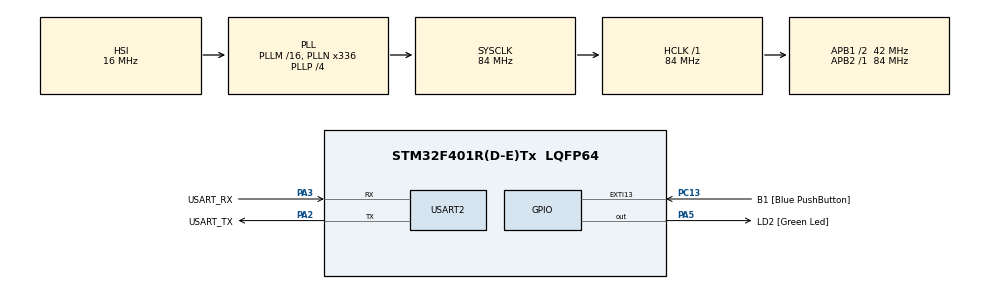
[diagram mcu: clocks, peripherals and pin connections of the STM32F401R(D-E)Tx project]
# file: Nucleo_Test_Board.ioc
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FREERTOS.Tasks01=SerialServer,0,128,StartSerialServer,Default,NULL,Dynamic,NULL,NULL
Mcu.Family=STM32F4
Mcu.Name=STM32F401R(D-E)Tx
Mcu.Package=LQFP64
NVIC.PriorityGroup=NVIC_PRIORITYGROUP_4
NVIC.TIM1_UP_TIM10_IRQn=true\:15\:0\:false\:false\:true\:false\:false\:true\:true
NVIC.TimeBase=TIM1_UP_TIM10_IRQn
NVIC.TimeBaseIP=TIM1
PA13.GPIO_Label=TMS
PA13.Mode=Trace_Asynchronous_SW
PA13.Signal=SYS_JTMS-SWDIO
PA14.GPIO_Label=TCK
PA14.Mode=Trace_Asynchronous_SW
PA14.Signal=SYS_JTCK-SWCLK
PA2.GPIO_Label=USART_TX
PA2.GPIO_Mode=GPIO_MODE_AF_PP
PA2.GPIO_PuPd=GPIO_NOPULL
PA2.GPIO_Speed=GPIO_SPEED_FREQ_LOW
PA2.Mode=Asynchronous
PA2.Signal=USART2_TX
PA3.GPIO_Label=USART_RX
PA3.GPIO_Mode=GPIO_MODE_AF_PP
PA3.GPIO_PuPd=GPIO_NOPULL
PA3.GPIO_Speed=GPIO_SPEED_FREQ_LOW
PA3.Mode=Asynchronous
PA3.Signal=USART2_RX
PA5.GPIO_Label=LD2 [Green Led]
PA5.GPIO_Mode=GPIO_MODE_OUTPUT_PP
PA5.GPIO_PuPd=GPIO_NOPULL
PA5.GPIO_Speed=GPIO_SPEED_FREQ_LOW
PA5.Signal=GPIO_Output
PB3.GPIO_Label=SWO
PB3.Mode=Trace_Asynchronous_SW
PB3.Signal=SYS_JTDO-SWO
PC13-ANTI_TAMP.GPIO_Label=B1 [Blue PushButton]
PC13-ANTI_TAMP.GPIO_ModeDefaultEXTI=GPIO_MODE_IT_FALLING
PC13-ANTI_TAMP.GPIO_PuPd=GPIO_NOPULL
PC13-ANTI_TAMP.Signal=GPXTI13
PC14-OSC32_IN.Mode=LSE-External-Oscillator
PC14-OSC32_IN.Signal=RCC_OSC32_IN
PC15-OSC32_OUT.Mode=LSE-External-Oscillator
PC15-OSC32_OUT.Signal=RCC_OSC32_OUT
PH0\ -\ OSC_IN.Mode=HSE-External-Clock-Source
PH0\ -\ OSC_IN.Signal=RCC_OSC_IN
PH1\ -\ OSC_OUT.Mode=HSE-External-Clock-Source
PH1\ -\ OSC_OUT.Signal=RCC_OSC_OUT
ProjectManager.HeapSize=0x200
ProjectManager.StackSize=0x400
ProjectManager.TargetToolchain=STM32CubeIDE
RCC.48MHZClocksFreq_Value=48000000
RCC.AHBFreq_Value=84000000
RCC.APB1CLKDivider=RCC_HCLK_DIV2
RCC.APB1Freq_Value=42000000
RCC.APB1TimFreq_Value=84000000
RCC.APB2Freq_Value=84000000
RCC.APB2TimFreq_Value=84000000
RCC.CortexFreq_Value=84000000
RCC.HCLKFreq_Value=84000000
RCC.HSE_VALUE=8000000
RCC.HSI_VALUE=16000000
RCC.PLLN=336
RCC.PLLP=RCC_PLLP_DIV4
RCC.PLLQ=7
RCC.SYSCLKFreq_VALUE=84000000
RCC.SYSCLKSource=RCC_SYSCLKSOURCE_PLLCLK
RCC.VCOOutputFreq_Value=336000000
USART2.VirtualMode=VM_ASYNC
VP_FREERTOS_VS_CMSIS_V1.Mode=CMSIS_V1
VP_SYS_VS_tim1.Mode=TIM1
board=NUCLEO-F401RE

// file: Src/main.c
/* USER CODE BEGIN Header */
/**
  ******************************************************************************
  * @file           : main.c
  * @brief          : Main program body
  ******************************************************************************
  * @attention
  *
  * Copyright (c) 2026 STMicroelectronics.
  * All rights reserved.
  *
  * This software is licensed under terms that can be found in the LICENSE file
  * in the root directory of this software component.
  * If no LICENSE file comes with this software, it is provided AS-IS.
  *
  ******************************************************************************
  */
/* USER CODE END Header */
#include "main.h"
#include "cmsis_os.h"

/* USER CODE BEGIN Includes */
#include <string.h>
/* USER CODE END Includes */

/* USER CODE BEGIN PTD */
/**
 * Data representation of the battery state for battery estimator. Just for test.
 * size: 13 byte / words
 *
 * @var status the status of the response
 * @var payloadOne arbitrary payload slot for data
 * @var payloadTwo arbitrary payload slot for data
 * @var payloadThree arbitrary payload slot for data
 *
 * ---- Payload Chart ----
 * 		- 0xFF = ERROR
 * 				- payloadOne = error code
 * 		- 0x01 = Success battery response
 *				- payloadOne = Battery Charge
 * 				- payloadTwo = Voltage
 * 				- payloadThree = total charge
 * 		- 0x02 = sucessful reset battery charge
 * 		- 0x03 = sucessful set battery charge
 **/
typedef struct __attribute__((packed)){
	uint8_t status;
	float payloadOne;
	float payloadTwo;
	float payloadThree;
} Payload;

/**
 * @brief response from microcontroller to server. Contains standard packet framing with a 16byte packet. The packet has as 13 byte payload defining the nature of the response.
 */
typedef struct __attribute__((packed)){
		uint8_t startBit;
		Payload data;
		uint8_t endBit;
		uint8_t checkSum;
} Response_Packet;

/**
 * @brief Packet sent to the microcontroller from the main rover. (Size: 8 byte / word)
 *
 * @param opCode operation code that directs instruction
 * 		- 0x01 - request battery data
 * 		- 0x02 - reset battery charge
 * 		- 0x03 - set battery charge
 * @param data float input for additional instruction details
 */
typedef struct __attribute__((packed)){
		uint8_t startBit;
		uint8_t opCode;
		float data;
		uint8_t endBit;
		uint8_t checkSum;
} Input_Packet;
/* USER CODE END PTD */

/* USER CODE BEGIN PD */
#define EMPTY_RESPONSE_PACKET(data_packet) {.startBit = 0xAA, .data = data_packet, .endBit = 0x55, .checkSum = 0};
#define EMPTY_INPUT_PACKET(opCode, data) {.startBit = 0xAA, .opCode = opCode, .data = data, .endBit = 0x55, .checkSum = 0}
#define ERROR_PAYLOAD {.status = 0xFF, .payloadOne = 0x01, .payloadTwo = 0x00, .payloadThree = 0x00}

/* USER CODE END PD */

UART_HandleTypeDef huart2;

osThreadId SerialServerHandle;

void SystemClock_Config(void);
static void MX_GPIO_Init(void);
static void MX_USART2_UART_Init(void);
void StartSerialServer(void const * argument);

/* USER CODE BEGIN PFP */
/**
 * @note function that takes a packet and calculates check sum
 * @warning the packet must have the check sum as its last element.
 * You must omit the checkSum element from the sum. So the actual size should
 * be sizeOf(Packet) - 1, since adding the checksum to the calculations will mess things up
 *
 * @param packet pointer to location of packet
 * @param size size of packet
 * @return checksum of all bytes
 */
uint8_t calcCheckSum(uint8_t* packet, uint8_t size){
	uint8_t sum = 0;
	for(uint8_t i = 0; i < size; i++)sum += packet[i];
	return sum;
}
/* USER CODE END PFP */

int main(void)
{

  /* MCU Configuration--------------------------------------------------------*/

  /* Reset of all peripherals, Initializes the Flash interface and the Systick. */
  HAL_Init();

  /* Configure the system clock */
  SystemClock_Config();

  /* Initialize all configured peripherals */
  MX_GPIO_Init();
  MX_USART2_UART_Init();

  /* Create the thread(s) */
  /* definition and creation of SerialServer */
  osThreadDef(SerialServer, StartSerialServer, osPriorityNormal, 0, 128);
  SerialServerHandle = osThreadCreate(osThread(SerialServer), NULL);

  /* Start scheduler */
  osKernelStart();

  /* We should never get here as control is now taken by the scheduler */

  /* Infinite loop */
  while (1)
  {

  }
}

void SystemClock_Config(void)
{
  RCC_OscInitTypeDef RCC_OscInitStruct = {0};
  RCC_ClkInitTypeDef RCC_ClkInitStruct = {0};

  /** Configure the main internal regulator output voltage
  */
  __HAL_RCC_PWR_CLK_ENABLE();
  __HAL_PWR_VOLTAGESCALING_CONFIG(PWR_REGULATOR_VOLTAGE_SCALE2);

  /** Initializes the RCC Oscillators according to the specified parameters
  * in the RCC_OscInitTypeDef structure.
  */
  RCC_OscInitStruct.OscillatorType = RCC_OSCILLATORTYPE_HSI;
  RCC_OscInitStruct.HSIState = RCC_HSI_ON;
  RCC_OscInitStruct.HSICalibrationValue = RCC_HSICALIBRATION_DEFAULT;
  RCC_OscInitStruct.PLL.PLLState = RCC_PLL_ON;
  RCC_OscInitStruct.PLL.PLLSource = RCC_PLLSOURCE_HSI;
  RCC_OscInitStruct.PLL.PLLM = 16;
  RCC_OscInitStruct.PLL.PLLN = 336;
  RCC_OscInitStruct.PLL.PLLP = RCC_PLLP_DIV4;
  RCC_OscInitStruct.PLL.PLLQ = 7;
  if (HAL_RCC_OscConfig(&RCC_OscInitStruct) != HAL_OK)
  {
    Error_Handler();
  }

  /** Initializes the CPU, AHB and APB buses clocks
  */
  RCC_ClkInitStruct.ClockType = RCC_CLOCKTYPE_HCLK|RCC_CLOCKTYPE_SYSCLK
                              |RCC_CLOCKTYPE_PCLK1|RCC_CLOCKTYPE_PCLK2;
  RCC_ClkInitStruct.SYSCLKSource = RCC_SYSCLKSOURCE_PLLCLK;
  RCC_ClkInitStruct.AHBCLKDivider = RCC_SYSCLK_DIV1;
  RCC_ClkInitStruct.APB1CLKDivider = RCC_HCLK_DIV2;
  RCC_ClkInitStruct.APB2CLKDivider = RCC_HCLK_DIV1;

  if (HAL_RCC_ClockConfig(&RCC_ClkInitStruct, FLASH_LATENCY_2) != HAL_OK)
  {
    Error_Handler();
  }
}

static void MX_USART2_UART_Init(void)
{

  huart2.Instance = USART2;
  huart2.Init.BaudRate = 115200;
  huart2.Init.WordLength = UART_WORDLENGTH_8B;
  huart2.Init.StopBits = UART_STOPBITS_1;
  huart2.Init.Parity = UART_PARITY_NONE;
  huart2.Init.Mode = UART_MODE_TX_RX;
  huart2.Init.HwFlowCtl = UART_HWCONTROL_NONE;
  huart2.Init.OverSampling = UART_OVERSAMPLING_16;
  if (HAL_UART_Init(&huart2) != HAL_OK)
  {
    Error_Handler();
  }

}

static void MX_GPIO_Init(void)
{
  GPIO_InitTypeDef GPIO_InitStruct = {0};

  /* GPIO Ports Clock Enable */
  __HAL_RCC_GPIOC_CLK_ENABLE();
  __HAL_RCC_GPIOH_CLK_ENABLE();
  __HAL_RCC_GPIOA_CLK_ENABLE();
  __HAL_RCC_GPIOB_CLK_ENABLE();

  /*Configure GPIO pin Output Level */
  HAL_GPIO_WritePin(LD2_GPIO_Port, LD2_Pin, GPIO_PIN_RESET);

  /*Configure GPIO pin : B1_Pin */
  GPIO_InitStruct.Pin = B1_Pin;
  GPIO_InitStruct.Mode = GPIO_MODE_IT_FALLING;
  GPIO_InitStruct.Pull = GPIO_NOPULL;
  HAL_GPIO_Init(B1_GPIO_Port, &GPIO_InitStruct);

  /*Configure GPIO pin : LD2_Pin */
  GPIO_InitStruct.Pin = LD2_Pin;
  GPIO_InitStruct.Mode = GPIO_MODE_OUTPUT_PP;
  GPIO_InitStruct.Pull = GPIO_NOPULL;
  GPIO_InitStruct.Speed = GPIO_SPEED_FREQ_LOW;
  HAL_GPIO_Init(LD2_GPIO_Port, &GPIO_InitStruct);

}

void StartSerialServer(void const * argument)
{
  /* USER CODE BEGIN 5 */
  /* Infinite loop */
	// TX in
	uint8_t serialIn[8];
	Input_Packet packet;

  for(;;)
  {
	  // Scan for Serial packet
	  if(HAL_UART_Receive(&huart2, serialIn, 8, 0u) == HAL_OK){
		  HAL_UART_Transmit(&huart2, "Selected option is not available\r\n", 34, 1000u);
		  // convert the serial into a packet
		  memcpy(&packet, serialIn, sizeof(Input_Packet));
		  // make sure that the checksum packet is correct
		  if(calcCheckSum((uint8_t*)&packet, sizeof(packet)-1) != packet.checkSum){
			  // send a packet back to the Jetson
			  Response_Packet r = EMPTY_RESPONSE_PACKET(ERROR_PAYLOAD);
			  HAL_UART_Transmit(&huart2, (uint8_t*)&r, sizeof(r), 1000u);
		  }

		  // parse op code
		  switch(packet.opCode){
		  	  default: // bad opcode
		  		  // send packet back stating bad result
		  		  Response_Packet r = EMPTY_RESPONSE_PACKET(ERROR_PAYLOAD);
		  		  HAL_UART_Transmit(&huart2, (uint8_t*)&r, sizeof(r), 1000u);
		  		  break;
		  }
	  }

    osDelay(1);
  }
  /* USER CODE END 5 */
}

void HAL_TIM_PeriodElapsedCallback(TIM_HandleTypeDef *htim)
{
  if (htim->Instance == TIM1)
  {
    HAL_IncTick();
  }
}

void Error_Handler(void)
{
  __disable_irq();
  while (1)
  {
  }
}
